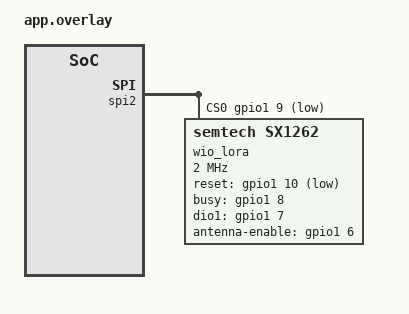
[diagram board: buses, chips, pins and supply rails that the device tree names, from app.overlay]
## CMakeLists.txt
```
cmake_minimum_required(VERSION 3.20.0)
find_package(Zephyr REQUIRED HINTS $ENV{ZEPHYR_BASE})
project(buddyguard)
if(CONFIG_BUDDYGUARD_WIFI)
  target_sources(app PRIVATE src/fleet/wifi_fleet.c)
endif()
if(CONFIG_BUDDYGUARD_FLEET)
  zephyr_include_directories(config)
  target_sources(app PRIVATE src/fleet/fleet.c)
endif()
target_sources(app PRIVATE
  src/main.c
  src/ble/presence.c
  src/console/commands.c
  src/update/health.c
  src/protocol/wire.c
  src/sensors/motion.c
  src/sensors/imu.c
  src/drivers/wio_sx1262.c
  src/radio/link.c
  src/radio/exchange.c
  src/radio/history.c
  src/roster/roster.c
)
target_include_directories(app PRIVATE include)
target_include_directories(app PRIVATE
  ${ZEPHYR_LORAMAC_NODE_MODULE_DIR}/src/radio
  ${ZEPHYR_LORAMAC_NODE_MODULE_DIR}/src/system
  ${ZEPHYR_LORAMAC_NODE_MODULE_DIR}/src/boards
)
```

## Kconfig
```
mainmenu "BuddyGuard"

source "Kconfig.zephyr"

menu "BuddyGuard prototype"

config BUDDYGUARD_WIFI
	bool "Direct Wi-Fi HTTPS telemetry and OTA"
	depends on BUDDYGUARD_FLEET && WIFI
	default n

config BUDDYGUARD_FLEET
	bool "Memfault fleet diagnostics over the USB host gateway"
	depends on MEMFAULT
	default n

config BUDDYGUARD_DEVICE_SERIAL
	string "Unique cloud device serial"
	default "BG-T01"
	depends on BUDDYGUARD_FLEET

config BUDDYGUARD_COUNSELOR
	bool "Build the counselor receiver role"
	default n

config BUDDYGUARD_IMU
	bool "Optional SparkFun LSM6DSO on the tag I2C bus"
	depends on !BUDDYGUARD_COUNSELOR
	select SENSOR
	select I2C
	help
	  Poll a deferred LSM6DSO at address 0x6b or 0x6a. Missing or stale
	  measurements produce UNKNOWN and do not block the wireless service.

config BUDDYGUARD_IMPACT_THRESHOLD_MG
	int "Impact: single-axis change between consecutive IMU samples (mg)"
	depends on BUDDYGUARD_IMU
	range 300 3900
	default 1000
	help
	  An impact (possible fall or hard knock) queues one LoRa SOS and pulses
	  the impact-gpios marker so a logic analyzer can time it.

config BUDDYGUARD_IMPACT_LOCKOUT_MS
	int "Impact: ignore further impacts for this long after one fires"
	depends on BUDDYGUARD_IMU
	range 500 60000
	default 3000

config BUDDYGUARD_IMPACT_MARKER_MS
	int "Impact: marker pulse width on the zephyr,user impact-gpios pin"
	depends on BUDDYGUARD_IMU
	range 1 1000
	default 50

config BUDDYGUARD_PRESENCE_ADV_INTERVAL_MS
	int "Presence (non-connectable) advertising minimum interval; maximum is 1.5x"
	range 100 6000
	default 100
	help
	  100 keeps the original 100-150 ms interval. The low-power profile raises
	  it; the presence sequence still changes every 2 s.

config BUDDYGUARD_PRESENCE_TIMEOUT_MS
	int "BLE presence timeout for the laboratory demo"
	range 4000 120000
	default 8000

config BUDDYGUARD_TAG_ID
	int "Laboratory tag ID"
	range 1 255
	default 1

config BUDDYGUARD_MAINTENANCE_GRACE_SECONDS
	int "Roster grace for a tag whose last frame announced maintenance"
	range 120 900
	default 600
	help
	  A 244-byte BLE SMP upload takes several minutes while advertisements
	  pause. Keep this separate from the normal missing-tag timeout, and
	  bounded so a stalled update cannot suppress warnings indefinitely.

config BUDDYGUARD_CONFIRM_AFTER_SECONDS
	int "Healthy runtime before confirming a test image"
	range 5 300
	default 15

config BUDDYGUARD_MAINTENANCE_SECONDS
	int "Initial laboratory BLE maintenance window"
	range 0 600
	default 300

config BUDDYGUARD_FAULT_ON_BOOT
	bool "Inject an unconfirmed-image failure after watchdog setup"
	default n
	help
	  Test images only: stop feeding the watchdog before image confirmation.

endmenu
```

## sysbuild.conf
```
SB_CONFIG_BOOTLOADER_MCUBOOT=y
SB_CONFIG_BOOT_SIGNATURE_TYPE_ECDSA_P256=y
SB_CONFIG_MCUBOOT_MODE_SWAP_USING_MOVE=y
# Public-only default deliberately cannot sign releases. scripts/build.py supplies
# the private-key path from outside the repository.
SB_CONFIG_BOOT_SIGNATURE_KEY_FILE="${APP_DIR}/../keys/team2-signing-public.pem"
```

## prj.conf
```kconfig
CONFIG_BOOT_DELAY=4000
CONFIG_BOOTLOADER_MCUBOOT=y
CONFIG_NET_BUF=y
CONFIG_ZCBOR=y
CONFIG_CRC=y
CONFIG_FLASH=y
CONFIG_FLASH_MAP=y
CONFIG_STREAM_FLASH=y
CONFIG_IMG_MANAGER=y
CONFIG_IMG_ERASE_PROGRESSIVELY=y
CONFIG_MCUMGR=y
CONFIG_MCUMGR_GRP_IMG=y
CONFIG_MCUMGR_GRP_OS=y
CONFIG_MCUMGR_GRP_OS_MCUMGR_PARAMS=y
CONFIG_MCUMGR_TRANSPORT_BT=y
CONFIG_MCUMGR_TRANSPORT_BT_REASSEMBLY=y
CONFIG_MCUMGR_TRANSPORT_NETBUF_SIZE=1024
CONFIG_MCUMGR_TRANSPORT_WORKQUEUE_STACK_SIZE=4096
CONFIG_BT=y
CONFIG_BT_PERIPHERAL=y
CONFIG_SPI=y
CONFIG_LORA=y
CONFIG_LORA_MODULE_BACKEND_LORAMAC_NODE=y
CONFIG_LORA_LOG_LEVEL_WRN=y
CONFIG_BT_DEVICE_NAME="BG-T01"
CONFIG_BT_MAX_CONN=1
CONFIG_BT_L2CAP_TX_MTU=247
CONFIG_BT_BUF_ACL_RX_SIZE=251
CONFIG_BT_BUF_ACL_TX_SIZE=251
CONFIG_BT_CTLR_DATA_LENGTH_MAX=251
CONFIG_MAIN_STACK_SIZE=4096
CONFIG_SYSTEM_WORKQUEUE_STACK_SIZE=4096
CONFIG_HEAP_MEM_POOL_SIZE=32768
CONFIG_WATCHDOG=y
CONFIG_REBOOT=y
CONFIG_SHELL=y
CONFIG_SHELL_BACKEND_SERIAL=y
CONFIG_SHELL_VT100_COLORS=n
CONFIG_LOG=y
CONFIG_LOG_BUFFER_SIZE=4096
CONFIG_LOG_PROCESS_THREAD_STACK_SIZE=2048
```

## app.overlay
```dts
#include <zephyr/dt-bindings/gpio/gpio.h>
#include <zephyr/dt-bindings/lora/sx126x.h>

/ {
	aliases {
		lora0 = &wio_lora;
	};
};

/* ESP32S3 B2B kit, not the nRF52840 through-hole module pinout.
 * GPIO32..53 are gpio1 pins 0..21.
 */
&spi2 {
	cs-gpios = <&gpio1 9 GPIO_ACTIVE_LOW>; /* GPIO41 NSS */
	wio_lora: sx1262@0 {
		compatible = "semtech,sx1262";
		zephyr,deferred-init;
		reg = <0>;
		spi-max-frequency = <2000000>;
		reset-gpios = <&gpio1 10 GPIO_ACTIVE_LOW>; /* GPIO42 */
		busy-gpios = <&gpio1 8 GPIO_ACTIVE_HIGH>; /* GPIO40 */
		dio1-gpios = <&gpio1 7 GPIO_ACTIVE_HIGH>; /* GPIO39 */
		antenna-enable-gpios = <&gpio1 6 GPIO_ACTIVE_HIGH>; /* GPIO38 */
		dio2-tx-enable;
		dio3-tcxo-voltage = <SX126X_DIO3_TCXO_3V0>;
		tcxo-power-startup-delay-ms = <10>;
		status = "okay";
	};
};
```

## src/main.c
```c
/* SPDX-License-Identifier: Apache-2.0 */
/* Boot orchestration only; each service owns its state and hardware.
 * 只编排启动与主循环；模块各自管理状态，不在入口堆叠业务实现。 */
#include <zephyr/app_version.h>
#include <zephyr/dfu/mcuboot.h>
#include <zephyr/kernel.h>
#include <zephyr/logging/log.h>
#include "health.h"
#include "fleet.h"
#include "wifi_fleet.h"
#include "imu.h"
#include "presence.h"
#include "radio_link.h"
#include "roster.h"
LOG_MODULE_REGISTER(buddyguard, LOG_LEVEL_INF);

int main(void)
{
	LOG_INF("BuddyGuard version=%s role=%s tag=%u confirmed=%u", APP_VERSION_STRING,
		IS_ENABLED(CONFIG_BUDDYGUARD_COUNSELOR) ? "COUNSELOR" : "TAG",
		CONFIG_BUDDYGUARD_TAG_ID, boot_is_img_confirmed());
	int rc = bg_health_watchdog_start();
	if (rc != 0) {
		LOG_ERR("Watchdog unavailable: %d; image will not be confirmed", rc);
		return rc;
	}
	if (bg_health_check_slots() != 0 || bg_radio_init() != 0 || bg_presence_init() != 0 ||
		bg_roster_start() != 0) {
		LOG_ERR("Startup health check failed; waiting for watchdog reset");
		for (;;) {
			k_sleep(K_SECONDS(1));
		}
	}
	if (IS_ENABLED(CONFIG_BUDDYGUARD_FAULT_ON_BOOT) && !boot_is_img_confirmed()) {
		LOG_ERR("FAULT INJECTION: unconfirmed image will stop feeding the watchdog");
		for (;;) {
			k_sleep(K_SECONDS(1));
		}
	}
	bg_imu_start();
	bg_health_begin();
	bg_wifi_start();
	for (;;) {
		bg_fleet_poll();
		bg_roster_poll();
		rc = bg_presence_tick();
		if (rc != 0) {
			bg_health_cycle(false, false);
			LOG_ERR("Advertising error: %d; withholding confirmation and watchdog feed", rc);
			k_sleep(K_SECONDS(1));
			continue;
		}
		struct bg_presence_status s = bg_presence_status();
		bg_health_cycle(true, s.heartbeat);
		LOG_INF("Presence seq=%u advertising=%u connected=%ld maintenance=%u confirmed=%u",
			s.sequence, s.advertising, (long)s.connected, s.maintenance,
			boot_is_img_confirmed());
		k_sleep(K_SECONDS(2));
	}
	return 0;
}
```

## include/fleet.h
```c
/* SPDX-License-Identifier: Apache-2.0 */
#pragma once
#if defined(CONFIG_BUDDYGUARD_FLEET)
void bg_fleet_poll(void);
#else
static inline void bg_fleet_poll(void) {}
#endif
```

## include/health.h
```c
/* SPDX-License-Identifier: Apache-2.0 */
#ifndef BUDDYGUARD_HEALTH_H
#define BUDDYGUARD_HEALTH_H
#include <stdbool.h>
/* Main-thread boot checks and trial confirmation; call begin after services start.
 * 主线程负责启动检查与试运行确认；服务启动完成后调用 begin 开始计时。 */
int bg_health_watchdog_start(void);
int bg_health_check_slots(void);
void bg_health_begin(void);
/* Failed cycles reset the healthy window and deliberately do not feed WDT. */
void bg_health_cycle(bool healthy, bool allow_confirmation);
#endif
```

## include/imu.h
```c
/* SPDX-License-Identifier: Apache-2.0 */
#ifndef BUDDYGUARD_IMU_H
#define BUDDYGUARD_IMU_H
#include <stdbool.h>
#include <stdint.h>
#include "motion.h"

struct bg_imu_snapshot {
	bool enabled, available;
	uint8_t address, whoami;
	enum bg_motion motion;
	/* x/y/z, mg and mrad/s. / 三轴，分别为 mg 与 mrad/s。 */
	int32_t accel_mg[3], gyro_mrad_s[3];
	uint32_t samples;
	uint32_t impacts;        /* impacts detected since boot / 启动以来冲击次数 */
	int32_t last_impact_mg;  /* largest axis change of the last impact */
	int64_t sampled_ms;
	int last_error;
};
/* Optional service: a missing IMU never blocks main or image confirmation. */
void bg_imu_start(void);
struct bg_imu_snapshot bg_imu_get(void);
/* Missing/stale data returns UNKNOWN. / 缺失或过期时返回 UNKNOWN。 */
enum bg_motion bg_imu_motion(void);
#endif
```

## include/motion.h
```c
/* SPDX-License-Identifier: Apache-2.0 */
#ifndef BUDDYGUARD_MOTION_H
#define BUDDYGUARD_MOTION_H
#include <stdbool.h>
#include <stdint.h>

enum bg_motion { BG_MOTION_UNKNOWN = 0, BG_MOTION_STILL = 1, BG_MOTION_MOVING = 2 };
struct bg_motion_filter {
	bool initialized, activity_seen;
	uint32_t started_ms, last_sample_ms, last_activity_ms;
	int32_t previous_accel_mg[3];
};
void bg_motion_reset(struct bg_motion_filter *filter);
/* Caller owns filter and feeds samples in time order; no bus access or allocation.
 * 调用者持有 filter、按时间顺序输入样本；本接口不访问总线、不分配内存。 */
enum bg_motion bg_motion_update(struct bg_motion_filter *filter, uint32_t now_ms,
			       const int32_t accel_mg[3], const int32_t gyro_mrad_s[3]);
const char *bg_motion_name(uint8_t motion);

/* Impact (impulse) detector: fires when any single axis changes by at least
 * threshold_mg between two consecutive samples, then ignores impacts for
 * lockout_ms. Pure logic like the motion filter: no bus access, caller owns state.
 * 冲击检测：任一轴相邻两次采样的变化 >= 阈值即触发，之后锁定 lockout_ms。 */
struct bg_impact_detector {
	bool initialized, fired;
	uint32_t last_sample_ms, last_impact_ms;
	int32_t previous_accel_mg[3];
};
struct bg_impact {
	bool detected;
	bool hardware;     /* true: the IMU's own wake-up detector saw it */
	uint8_t axis;      /* 0 = x, 1 = y, 2 = z */
	int32_t delta_mg;  /* largest absolute single-axis change between polled samples */
};
/* hw_axes: axes flagged by the IMU's latched wake-up detector since the last poll
 * (bit0 = x, bit1 = y, bit2 = z; 0 = none). It runs on every 417 Hz sample, so it
 * catches ~1 ms knocks that 25 Hz polling misses. Either source fires the impact;
 * both share the lockout. */
void bg_impact_reset(struct bg_impact_detector *detector);
struct bg_impact bg_impact_update(struct bg_impact_detector *detector, uint32_t now_ms,
				  const int32_t accel_mg[3], int32_t threshold_mg,
				  uint32_t lockout_ms, uint8_t hw_axes);
#endif
```

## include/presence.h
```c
/* SPDX-License-Identifier: Apache-2.0 */
#ifndef BUDDYGUARD_PRESENCE_H
#define BUDDYGUARD_PRESENCE_H
#include <stdbool.h>
#include <stdint.h>
/* BLE service. Init/tick/status are main/shell context; callbacks stay internal.
 * BLE 服务：启动、周期更新与状态查询供主循环／命令层使用，回调留在模块内。 */
struct bg_presence_status {
	uint16_t sequence;
	bool advertising, connected, maintenance, heartbeat;
};
int bg_presence_init(void);
int bg_presence_tick(void);
/* Admission deadline, not forced disconnection. / 设置接入期限，不强制断开已有连接。 */
void bg_presence_maintenance(unsigned seconds);
void bg_presence_heartbeat(bool enabled);
struct bg_presence_status bg_presence_status(void);
#endif
```

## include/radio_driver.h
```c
/* SPDX-License-Identifier: Apache-2.0 */
#ifndef BUDDYGUARD_RADIO_DRIVER_H
#define BUDDYGUARD_RADIO_DRIVER_H
#include <stdint.h>
#include <zephyr/kernel.h>
/* Init only after arming WDT. Send/receive are serialized by the radio worker.
 * 看门狗就绪后初始化；收发为阻塞调用，运行期只供唯一 radio worker 使用。 */
int bg_radio_driver_init(void);
int bg_radio_driver_send(uint8_t *frame);
int bg_radio_driver_receive(uint8_t *frame, k_timeout_t timeout,
							int16_t *rssi, int8_t *snr);
#endif
```

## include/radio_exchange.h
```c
/* SPDX-License-Identifier: Apache-2.0 */
#ifndef BUDDYGUARD_RADIO_EXCHANGE_H
#define BUDDYGUARD_RADIO_EXCHANGE_H
#include "wire.h"

enum bg_radio_exchange_action {
	BG_EXCHANGE_WAIT, BG_EXCHANGE_SEND, BG_EXCHANGE_EXHAUSTED,
};
/* Pure retry state: no hardware, logging, sleeping or Zephyr dependencies.
 * One in-flight transaction; callers continue dispatching RX while it waits.
 * All durations must be below INT32_MAX ms for wrap-safe comparisons.
 * 调用者持有状态并执行收发；时间间隔须小于 INT32_MAX 毫秒以支持计时回绕。 */
struct bg_radio_exchange {
	uint8_t frame[BG_RADIO_FRAME_SIZE];
	uint32_t deadline_ms, timeout_ms, backoff_ms;
	uint8_t attempts;
	bool active, awaiting;
};
void bg_radio_exchange_start(struct bg_radio_exchange *exchange,
	const uint8_t frame[BG_RADIO_FRAME_SIZE], uint32_t now_ms,
	uint32_t timeout_ms, uint32_t backoff_ms);
enum bg_radio_exchange_action bg_radio_exchange_next(
	struct bg_radio_exchange *exchange, uint32_t now_ms);
/* Call after each send attempt, including a driver failure; retries are bounded. */
void bg_radio_exchange_sent(struct bg_radio_exchange *exchange, uint32_t now_ms);
bool bg_radio_exchange_accept(struct bg_radio_exchange *exchange,
	const uint8_t *frame, size_t size);
#endif
```

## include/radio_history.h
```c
/* SPDX-License-Identifier: Apache-2.0 */
#ifndef BUDDYGUARD_RADIO_HISTORY_H
#define BUDDYGUARD_RADIO_HISTORY_H
#include "wire.h"
enum { BG_RADIO_HISTORY_SIZE = 16 };
struct bg_radio_history {
	struct { uint16_t sequence; uint8_t type, tag; bool valid; } entries[BG_RADIO_HISTORY_SIZE];
	uint8_t next;
};
/* Validated business frames only. True means already reported; ACK it again.
 * Bounded recent history is duplicate suppression, NOT replay protection.
 * 只输入已校验的业务帧；重复消息仍需 ACK，此缓存不是安全防重放。 */
bool bg_radio_history_seen(struct bg_radio_history *history,
	const uint8_t frame[BG_RADIO_FRAME_SIZE]);
#endif
```

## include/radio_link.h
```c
#ifndef BUDDYGUARD_RADIO_LINK_H
#define BUDDYGUARD_RADIO_LINK_H
#include <stdint.h>
/* Init after watchdog; SOS/QUERY enqueue and may fail when full, not delivery receipts.
 * 看门狗启动后初始化；SOS／QUERY 只排队，队满可失败，成功不代表送达。 */
int bg_radio_init(void);
int bg_radio_sos(void);
int bg_radio_query(uint8_t tag);
/* Approximate monotonic counters since boot, copied atomically per field. */
struct bg_radio_stats {
	uint32_t tx_attempts, tx_completed, tx_exhausted;
	uint32_t rx_valid, rx_interleaved, rx_duplicates;
	uint32_t queries_received, replies_received, queue_drops;
};
struct bg_radio_stats bg_radio_get_stats(void);
#endif
```

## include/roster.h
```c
#ifndef BUDDYGUARD_ROSTER_H
#define BUDDYGUARD_ROSTER_H
#include <stdint.h>
/* Start scanner once, poll from main; tag builds are no-ops.
 * 辅导员启动扫描并由主循环轮询；标签端为空实现。 */
int bg_roster_start(void);
void bg_roster_poll(void);
uint32_t bg_roster_missing_count(void);
#endif
```

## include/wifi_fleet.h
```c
/* SPDX-License-Identifier: Apache-2.0 */
#pragma once
#if defined(CONFIG_BUDDYGUARD_WIFI)
void bg_wifi_start(void);
#else
static inline void bg_wifi_start(void) {}
#endif
```

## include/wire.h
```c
/* SPDX-License-Identifier: Apache-2.0 */
#ifndef BUDDYGUARD_WIRE_H
#define BUDDYGUARD_WIRE_H
#include <stdbool.h>
#include <stddef.h>
#include <stdint.h>
/* Wire boundary only; no transport or mutable service state. See firmware guide for offsets.
 * 只定义帧与编码校验，不承担传输、不持有服务状态；字段偏移见固件解释。 */
enum { BG_PRESENCE_SIZE = 8, BG_RADIO_FRAME_SIZE = 12, BG_MAX_TAGS = 3 };
enum bg_radio_type {
	BG_RADIO_STATUS = 1, BG_RADIO_ACK, BG_RADIO_SOS, BG_RADIO_QUERY, BG_RADIO_REPLY,
};
struct bg_presence_frame { uint8_t tag, flags; uint16_t sequence; };
void bg_presence_encode(uint8_t out[BG_PRESENCE_SIZE], uint8_t tag,
						uint16_t sequence, uint8_t flags, uint8_t role);
/* Roster accepts only laboratory tag IDs 1..3, role TAG, and defined flags. */
bool bg_presence_decode(const uint8_t *data, size_t size, struct bg_presence_frame *out);
void bg_radio_frame_encode(uint8_t out[BG_RADIO_FRAME_SIZE], uint8_t type,
						  uint8_t tag, uint16_t sequence);
bool bg_radio_frame_valid(const uint8_t *data, size_t size);
#endif
```
